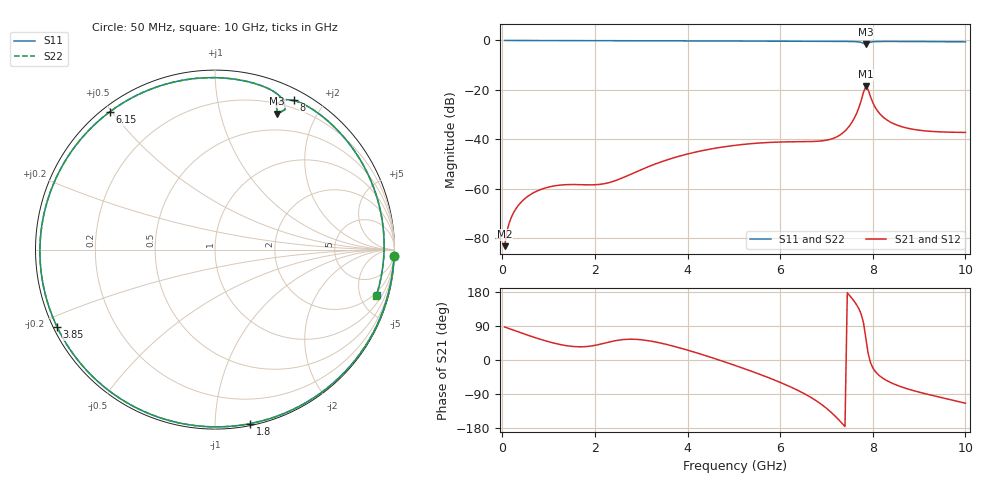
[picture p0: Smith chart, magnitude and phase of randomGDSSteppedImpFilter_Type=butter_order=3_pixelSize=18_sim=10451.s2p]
! freq	dB(S11)	phase(S11)	dB(S12)	phase(S12)
!  dB(S21)	phase(S21)	dB(S22)	phase(S22)
!S-par simulation data
#  GHz  S  DB  R 50
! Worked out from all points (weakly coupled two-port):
!   200 points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, 50 MHz to 10 GHz, reference 50 ohm
!   highest |S21| = -18.61 dB at 7.85 GHz (marker M1); lowest = -83.2 dB at 50 MHz (marker M2)
!   lowest |S11| = -1.6 dB at 7.85 GHz (marker M3), VSWR 10.98, Z = 15.3 + j75.7 ohm
!   |S11| at or under -10 dB: nowhere
!   |S22| runs from -1.6 to 0.0 dB; largest |S21 - S12| = 0
!   S11 on the Smith chart (normalised r, x): 50 MHz: 2, -52; 1.8 GHz: 0.01, -1.22; 3.85 GHz: 0.01, -0.23; 6.15 GHz: 0.02, +0.49; 8 GHz: 0.12, +1.65; 10 GHz: 1.71, -6.84
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0.05  -0.01 -2.2  -83.17 87.1  -83.17 87.1  -0.01 -2.2
0.25  -0.03 -11.4  -69.39 78.5  -69.39 78.5  -0.03 -11.4
0.6  -0.04 -27.2  -62.41 63.4  -62.41 63.4  -0.04 -27.2
1.1  -0.06 -49.3  -58.88 45.0  -58.88 45.0  -0.06 -49.3
1.75  -0.09 -76.5  -58.34 35.0  -58.34 35.0  -0.09 -76.5
1.8  -0.10 -78.6  -58.36 35.3  -58.36 35.3  -0.10 -78.6
2.55  -0.13 -107.7  -55.90 53.1  -55.90 53.1  -0.13 -107.7
3.4  -0.16 -138.4  -49.29 45.2  -49.29 45.2  -0.16 -138.4
3.85  -0.18 -153.9  -46.64 31.3  -46.64 31.3  -0.18 -154.0
4.45  -0.21 -174.3  -44.07 9.1  -44.07 9.1  -0.21 -174.3
5.05  -0.24 165.4  -42.35 -15.3  -42.35 -15.3  -0.24 165.4
6.15  -0.30 127.3  -41.00 -66.9  -41.00 -66.9  -0.30 127.2
6.7  -0.34 107.4  -40.85 -101.4  -40.85 -101.4  -0.34 107.3
7.1  -0.37 92.5  -39.89 -138.0  -39.89 -138.0  -0.37 92.3
7.4  -0.40 80.8  -36.62 -175.6  -36.62 -175.6  -0.40 80.7
7.65  -0.52 70.3  -29.53 145.9  -29.53 145.9  -0.52 70.1
7.85  -1.59 65.4  -18.61 58.6  -18.61 58.6  -1.59 65.2
8  -0.53 62.1  -25.09 -20.4  -25.09 -20.4  -0.53 62.0
8.15  -0.43 55.0  -29.61 -41.9  -29.61 -41.9  -0.43 54.9
8.35  -0.41 46.7  -32.69 -57.4  -32.69 -57.4  -0.41 46.5
9.15  -0.47 15.7  -36.60 -89.5  -36.60 -89.5  -0.47 15.5
10  -0.59 -15.7  -37.20 -114.1  -37.20 -114.1  -0.59 -15.9
